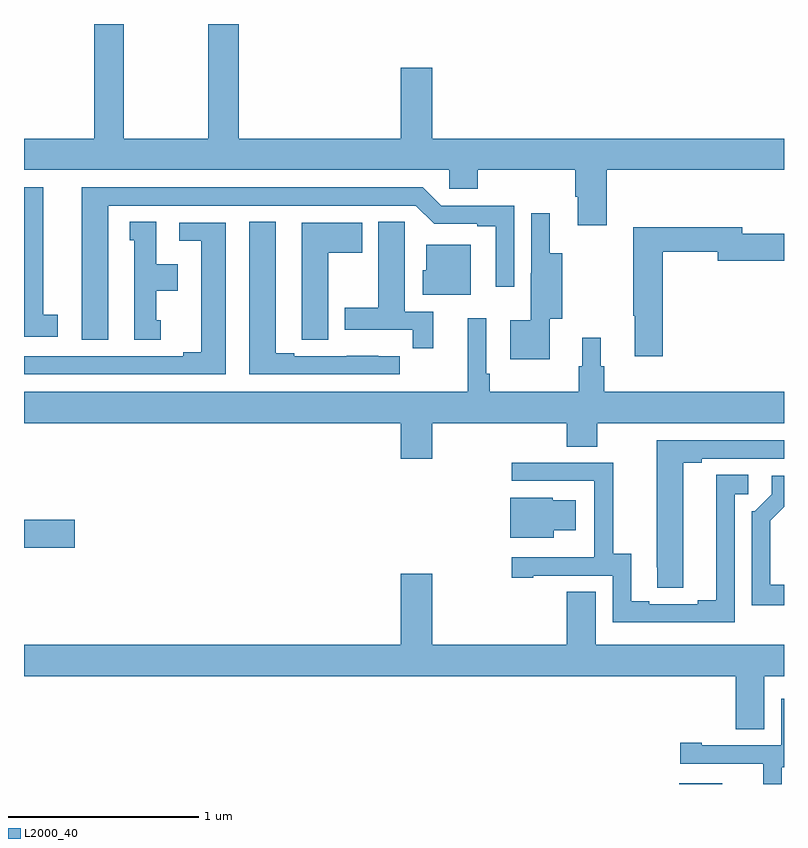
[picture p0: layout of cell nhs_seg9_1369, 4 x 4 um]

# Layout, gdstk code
import gdstk
lib = gdstk.Library(unit=1e-6, precision=1e-09)
def R(c, l, rs):  # rectangles x0, y0, x1, y1
    for r in rs: c.add(gdstk.rectangle(r[:2], r[2:], *l))
def P(c, l, *ps):  # polygons
    for p in ps: c.add(gdstk.Polygon(p, *l))
L2000_40 = (2000, 40)

nhs_seg9_1369 = lib.new_cell('nhs_seg9_1369')
R(nhs_seg9_1369, L2000_40, [(190.448,1214.5,190.675,1214.503), (187,1215.743,187.267,1215.89)])
P(nhs_seg9_1369, L2000_40, [(190.067,1217.732),(191,1217.732),(191,1217.896),(189.148,1217.896),(189.148,1218.271),(188.984,1218.271),(188.984,1217.896),(188.129,1217.896),(188.129,1218.5),(187.969,1218.5),(187.969,1217.896),(187.524,1217.896),(187.524,1218.5),(187.369,1218.5),(187.369,1217.896),(187,1217.896),(187,1217.732),(189.237,1217.732),(189.237,1217.634),(189.389,1217.634),(189.389,1217.732),(189.902,1217.732),(189.902,1217.59),(189.914,1217.59),(189.914,1217.442),(190.067,1217.442)],
  [(187.177,1216.97),(187.102,1216.97),(187.102,1217.64),(187,1217.64),(187,1216.854),(187.177,1216.854)],
  [(187.444,1217.544),(189.063,1217.544),(189.159,1217.448),(189.386,1217.448),(189.386,1217.436),(189.482,1217.436),(189.482,1217.118),(189.579,1217.118),(189.579,1217.544),(189.195,1217.544),(189.099,1217.64),(187.304,1217.64),(187.304,1216.839),(187.444,1216.839)],
  [(189.766,1216.949),(189.834,1216.949),(189.834,1217.293),(189.766,1217.293),(189.766,1217.503),(189.669,1217.503),(189.669,1217.189),(189.668,1217.189),(189.668,1216.942),(189.56,1216.942),(189.56,1216.736),(189.766,1216.736)],
  [(189.155,1216.986),(189.004,1216.986),(189.004,1217.348),(189.003,1217.348),(189.003,1217.459),(188.864,1217.459),(188.864,1217.007),(188.687,1217.007),(188.687,1216.89),(189.046,1216.89),(189.046,1216.794),(189.155,1216.794)],
  [(188.977,1216.752),(188.864,1216.752),(188.864,1216.753),(188.698,1216.753),(188.698,1216.752),(188.422,1216.752),(188.422,1216.767),(188.326,1216.767),(188.326,1217.459),(188.186,1217.459),(188.186,1216.656),(188.977,1216.656)],
  [(187.72,1216.941),(187.696,1216.941),(187.696,1217.096),(187.81,1217.096),(187.81,1217.236),(187.696,1217.236),(187.696,1217.459),(187.556,1217.459),(187.556,1217.361),(187.58,1217.361),(187.58,1216.839),(187.72,1216.839)],
  [(188.602,1217.296),(188.779,1217.296),(188.779,1217.455),(188.462,1217.455),(188.462,1216.945),(188.463,1216.945),(188.463,1216.837),(188.602,1216.837)],
  [(188.062,1217.454),(187.818,1217.454),(187.818,1217.358),(187.934,1217.358),(187.934,1216.772),(187.838,1216.772),(187.838,1216.752),(187,1216.752),(187,1216.656),(188.062,1216.656)],
  [(190.361,1217.302),(190.652,1217.302),(190.652,1217.255),(191,1217.255),(191,1217.397),(190.78,1217.397),(190.78,1217.431),(190.207,1217.431),(190.207,1216.964),(190.214,1216.964),(190.214,1216.752),(190.361,1216.752)],
  [(189.352,1217.338),(189.116,1217.338),(189.116,1217.205),(189.098,1217.205),(189.098,1217.075),(189.352,1217.075)],
  [(189.148,1216.4),(189.857,1216.4),(189.857,1216.276),(190.017,1216.276),(190.017,1216.4),(191,1216.4),(191,1216.564),(190.055,1216.564),(190.055,1216.698),(190.036,1216.698),(190.036,1216.849),(189.938,1216.849),(189.938,1216.698),(189.919,1216.698),(189.919,1216.564),(189.452,1216.564),(189.452,1216.66),(189.432,1216.66),(189.432,1216.951),(189.335,1216.951),(189.335,1216.564),(187,1216.564),(187,1216.4),(188.984,1216.4),(188.984,1216.212),(189.148,1216.212)],
  [(190.471,1216.192),(190.567,1216.192),(190.567,1216.212),(191,1216.212),(191,1216.308),(190.331,1216.308),(190.331,1215.64),(190.332,1215.64),(190.332,1215.532),(190.471,1215.532)],
  [(190.74,1216.026),(190.813,1216.026),(190.813,1216.127),(190.643,1216.127),(190.643,1215.467),(190.547,1215.467),(190.547,1215.447),(190.291,1215.447),(190.291,1215.462),(190.195,1215.462),(190.195,1215.713),(190.101,1215.713),(190.101,1216.191),(189.567,1216.191),(189.567,1216.095),(190.002,1216.095),(190.002,1215.694),(190.001,1215.694),(190.001,1215.693),(189.567,1215.693),(189.567,1215.585),(189.679,1215.585),(189.679,1215.597),(190.098,1215.597),(190.098,1215.351),(190.74,1215.351)],
  [(191,1215.55),(190.927,1215.55),(190.927,1215.886),(191,1215.959),(191,1216.122),(190.935,1216.122),(190.935,1216.026),(190.845,1215.936),(190.83,1215.936),(190.83,1215.44),(191,1215.44)],
  [(189.787,1215.836),(189.904,1215.836),(189.904,1215.994),(189.783,1215.994),(189.783,1216.006),(189.56,1216.006),(189.56,1215.797),(189.787,1215.797)],
  [(190.897,1215.068),(191,1215.068),(191,1215.232),(190.009,1215.232),(190.009,1215.512),(189.857,1215.512),(189.857,1215.232),(189.148,1215.232),(189.148,1215.607),(188.984,1215.607),(188.984,1215.232),(187,1215.232),(187,1215.068),(190.745,1215.068),(190.745,1214.788),(190.897,1214.788)],
  [(190.989,1214.587),(191,1214.587),(191,1214.949),(190.986,1214.949),(190.986,1214.703),(190.567,1214.703),(190.567,1214.716),(190.455,1214.716),(190.455,1214.607),(190.889,1214.607),(190.889,1214.606),(190.89,1214.606),(190.89,1214.5),(190.989,1214.5)])

lib.write_gds('nhs_seg9_1369.gds')
